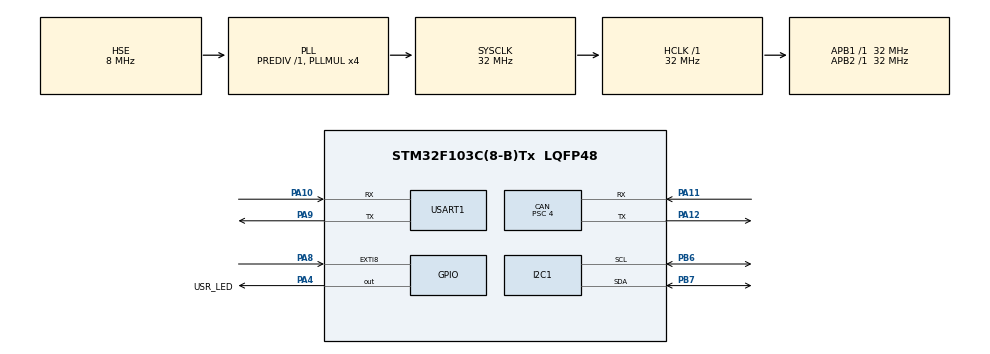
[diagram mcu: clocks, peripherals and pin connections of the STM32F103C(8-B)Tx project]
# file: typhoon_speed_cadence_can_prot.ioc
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CAN.BS1=CAN_BS1_13TQ
CAN.BS2=CAN_BS2_2TQ
CAN.CalculateBaudRate=500000
CAN.CalculateTimeBit=2000
CAN.CalculateTimeQuantum=125.0
CAN.Mode=CAN_MODE_NORMAL
CAN.Prescaler=4
Mcu.Family=STM32F1
Mcu.Name=STM32F103C(8-B)Tx
Mcu.Package=LQFP48
NVIC.EXTI9_5_IRQn=true\:0\:0\:false\:false\:true\:true\:true\:true
NVIC.PriorityGroup=NVIC_PRIORITYGROUP_4
NVIC.RCC_IRQn=true\:0\:0\:false\:false\:true\:true\:false\:true
PA10.Mode=Asynchronous
PA10.Signal=USART1_RX
PA11.Mode=CAN_Activate
PA11.Signal=CAN_RX
PA12.Mode=CAN_Activate
PA12.Signal=CAN_TX
PA13.Mode=Serial_Wire
PA13.Signal=SYS_JTMS-SWDIO
PA14.Mode=Serial_Wire
PA14.Signal=SYS_JTCK-SWCLK
PA4.GPIO_Label=USR_LED
PA4.Signal=GPIO_Output
PA8.GPIO_ModeDefaultEXTI=GPIO_MODE_IT_FALLING
PA8.Signal=GPXTI8
PA9.Mode=Asynchronous
PA9.Signal=USART1_TX
PB6.Mode=I2C
PB6.Signal=I2C1_SCL
PB7.Mode=I2C
PB7.Signal=I2C1_SDA
PD0-OSC_IN.Mode=HSE-External-Oscillator
PD0-OSC_IN.Signal=RCC_OSC_IN
PD1-OSC_OUT.Mode=HSE-External-Oscillator
PD1-OSC_OUT.Signal=RCC_OSC_OUT
ProjectManager.HeapSize=0x200
ProjectManager.StackSize=0x400
ProjectManager.TargetToolchain=STM32CubeIDE
RCC.AHBFreq_Value=32000000
RCC.APB1Freq_Value=32000000
RCC.APB1TimFreq_Value=32000000
RCC.APB2Freq_Value=32000000
RCC.APB2TimFreq_Value=32000000
RCC.EnbaleCSS=true
RCC.HCLKFreq_Value=32000000
RCC.PLLMUL=RCC_PLL_MUL4
RCC.PLLSourceVirtual=RCC_PLLSOURCE_HSE
RCC.SYSCLKFreq_VALUE=32000000
RCC.SYSCLKSource=RCC_SYSCLKSOURCE_PLLCLK
RCC.USBFreq_Value=32000000
USART1.VirtualMode=VM_ASYNC
board=custom

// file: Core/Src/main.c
/* USER CODE BEGIN Header */
/**
  ******************************************************************************
  * @file           : main.c
  * @brief          : Main program body
  ******************************************************************************
  * @attention
  *
  * Copyright (c) 2026 STMicroelectronics.
  * All rights reserved.
  *
  * This software is licensed under terms that can be found in the LICENSE file
  * in the root directory of this software component.
  * If no LICENSE file comes with this software, it is provided AS-IS.
  *
  ******************************************************************************
  */
/* USER CODE END Header */
#include "main.h"

/* USER CODE BEGIN Includes */
#include <stdio.h>
#include <string.h>
/* USER CODE END Includes */

/* USER CODE BEGIN PD */
// #define LOOPBACK
/* USER CODE END PD */

CAN_HandleTypeDef hcan;

I2C_HandleTypeDef hi2c1;

UART_HandleTypeDef huart1;

void SystemClock_Config(void);
static void MX_GPIO_Init(void);
static void MX_I2C1_Init(void);
static void MX_USART1_UART_Init(void);
static void MX_CAN_Init(void);

int main(void)
{

  /* MCU Configuration--------------------------------------------------------*/

  /* Reset of all peripherals, Initializes the Flash interface and the Systick. */
  HAL_Init();

  /* Configure the system clock */
  SystemClock_Config();

  /* Initialize all configured peripherals */
  MX_GPIO_Init();
  MX_I2C1_Init();
  MX_USART1_UART_Init();
  MX_CAN_Init();
  /* USER CODE BEGIN 2 */
  // Configure CAN filter to accept all messages
  CAN_FilterTypeDef canFilter;
  canFilter.FilterBank = 0;
  canFilter.FilterMode = CAN_FILTERMODE_IDMASK;
  canFilter.FilterScale = CAN_FILTERSCALE_32BIT;
  canFilter.FilterIdHigh = 0x0000;
  canFilter.FilterIdLow = 0x0000;
  canFilter.FilterMaskIdHigh = 0x0000;
  canFilter.FilterMaskIdLow = 0x0000;
  canFilter.FilterFIFOAssignment = CAN_RX_FIFO0;
  canFilter.FilterActivation = ENABLE;

  HAL_CAN_ConfigFilter(&hcan, &canFilter);

  // Start CAN
  HAL_CAN_Start(&hcan);

  // Activate CAN receive interrupt
  HAL_CAN_ActivateNotification(&hcan, CAN_IT_RX_FIFO0_MSG_PENDING);
  /* USER CODE END 2 */

  /* Infinite loop */
  /* USER CODE BEGIN WHILE */
  while (1)
  {
#ifdef LOOPBACK
	  CAN_TxHeaderTypeDef TxHeader;
	  uint8_t TxData[8] = {0x11, 0x22, 0x33, 0x44, 0x55, 0x66, 0x77, 0x88};
	  uint32_t TxMailbox;

	  TxHeader.DLC = 8;  // Data length: 8 bytes
	  TxHeader.IDE = CAN_ID_STD;  // Standard ID (11-bit)
	  TxHeader.RTR = CAN_RTR_DATA;  // Data frame
	  TxHeader.StdId = 0x123;  // CAN ID = 0x123

	  if (HAL_CAN_AddTxMessage(&hcan, &TxHeader, TxData, &TxMailbox) == HAL_OK) {
	      printf("TX - ID: 0x%03X Data: ", (unsigned int)TxHeader.StdId);
	      for(int i = 0; i < 8; i++) {
	          printf("%02X ", TxData[i]);
	      }
	      printf("\r\n");

	      HAL_GPIO_TogglePin(USR_LED_GPIO_Port, USR_LED_Pin);
	  }

	  HAL_Delay(100);

	  // Check if message received
	  if (HAL_CAN_GetRxFifoFillLevel(&hcan, CAN_RX_FIFO0) > 0)
	  {
		  CAN_RxHeaderTypeDef RxHeader;
		  uint8_t RxData[8];

		  if (HAL_CAN_GetRxMessage(&hcan, CAN_RX_FIFO0, &RxHeader, RxData) == HAL_OK)
		  {
			  printf("RX - ID: 0x%03lX Data: ", RxHeader.StdId);
			  for(int i = 0; i < RxHeader.DLC; i++) {
				  printf("%02X ", RxData[i]);
			  }
			  printf("\r\n");
		  }
	  }

	      HAL_Delay(900); // Rest of the 1 second delay
#else
	      // Real CAN code - Normal mode with ESP32

		  // Check if we received a CAN message
		  if (HAL_CAN_GetRxFifoFillLevel(&hcan, CAN_RX_FIFO0) > 0) {
			  CAN_RxHeaderTypeDef RxHeader;
			  uint8_t RxData[8];

			  if (HAL_CAN_GetRxMessage(&hcan, CAN_RX_FIFO0, &RxHeader, RxData) == HAL_OK) {
				  printf("RX - ID: 0x%03lX Data: ", RxHeader.StdId);
				  for(int i = 0; i < RxHeader.DLC; i++) {
					  printf("%02X ", RxData[i]);
				  }
				  printf("\r\n");

				  // Toggle LED when message received
				  HAL_GPIO_TogglePin(USR_LED_GPIO_Port, USR_LED_Pin);
			  }
		  }

		  // Send a test message every second
		  static uint32_t lastSendTime = 0;
		  if (HAL_GetTick() - lastSendTime >= 1000) {
			  CAN_TxHeaderTypeDef TxHeader;
			  uint8_t TxData[8] = {0xAA, 0xBB, 0xCC, 0xDD, 0xEE, 0xFF, 0x11, 0x22};
			  uint32_t TxMailbox;

			  TxHeader.DLC = 8;
			  TxHeader.IDE = CAN_ID_STD;
			  TxHeader.RTR = CAN_RTR_DATA;
			  TxHeader.StdId = 0x456;  // Different ID from loopback test

			  if (HAL_CAN_AddTxMessage(&hcan, &TxHeader, TxData, &TxMailbox) == HAL_OK) {
				  printf("TX - ID: 0x%03X Data: ", (unsigned int)TxHeader.StdId);
				  for(int i = 0; i < 8; i++) {
					  printf("%02X ", TxData[i]);
				  }
				  printf("\r\n");
			  }

			  lastSendTime = HAL_GetTick();
		  }

		  HAL_Delay(10);  // Small delay to prevent busy loop
#endif
    /* USER CODE END WHILE */

  }
}

void SystemClock_Config(void)
{
  RCC_OscInitTypeDef RCC_OscInitStruct = {0};
  RCC_ClkInitTypeDef RCC_ClkInitStruct = {0};

  /** Initializes the RCC Oscillators according to the specified parameters
  * in the RCC_OscInitTypeDef structure.
  */
  RCC_OscInitStruct.OscillatorType = RCC_OSCILLATORTYPE_HSE;
  RCC_OscInitStruct.HSEState = RCC_HSE_ON;
  RCC_OscInitStruct.HSEPredivValue = RCC_HSE_PREDIV_DIV1;
  RCC_OscInitStruct.HSIState = RCC_HSI_ON;
  RCC_OscInitStruct.PLL.PLLState = RCC_PLL_ON;
  RCC_OscInitStruct.PLL.PLLSource = RCC_PLLSOURCE_HSE;
  RCC_OscInitStruct.PLL.PLLMUL = RCC_PLL_MUL4;
  if (HAL_RCC_OscConfig(&RCC_OscInitStruct) != HAL_OK)
  {
    Error_Handler();
  }

  /** Initializes the CPU, AHB and APB buses clocks
  */
  RCC_ClkInitStruct.ClockType = RCC_CLOCKTYPE_HCLK|RCC_CLOCKTYPE_SYSCLK
                              |RCC_CLOCKTYPE_PCLK1|RCC_CLOCKTYPE_PCLK2;
  RCC_ClkInitStruct.SYSCLKSource = RCC_SYSCLKSOURCE_PLLCLK;
  RCC_ClkInitStruct.AHBCLKDivider = RCC_SYSCLK_DIV1;
  RCC_ClkInitStruct.APB1CLKDivider = RCC_HCLK_DIV1;
  RCC_ClkInitStruct.APB2CLKDivider = RCC_HCLK_DIV1;

  if (HAL_RCC_ClockConfig(&RCC_ClkInitStruct, FLASH_LATENCY_1) != HAL_OK)
  {
    Error_Handler();
  }

  /** Enables the Clock Security System
  */
  HAL_RCC_EnableCSS();
}

static void MX_CAN_Init(void)
{

  hcan.Instance = CAN1;
  hcan.Init.Prescaler = 4;
  hcan.Init.Mode = CAN_MODE_NORMAL;
  hcan.Init.SyncJumpWidth = CAN_SJW_1TQ;
  hcan.Init.TimeSeg1 = CAN_BS1_13TQ;
  hcan.Init.TimeSeg2 = CAN_BS2_2TQ;
  hcan.Init.TimeTriggeredMode = DISABLE;
  hcan.Init.AutoBusOff = DISABLE;
  hcan.Init.AutoWakeUp = DISABLE;
  hcan.Init.AutoRetransmission = DISABLE;
  hcan.Init.ReceiveFifoLocked = DISABLE;
  hcan.Init.TransmitFifoPriority = DISABLE;
  if (HAL_CAN_Init(&hcan) != HAL_OK)
  {
    Error_Handler();
  }

}

static void MX_I2C1_Init(void)
{

  hi2c1.Instance = I2C1;
  hi2c1.Init.ClockSpeed = 100000;
  hi2c1.Init.DutyCycle = I2C_DUTYCYCLE_2;
  hi2c1.Init.OwnAddress1 = 0;
  hi2c1.Init.AddressingMode = I2C_ADDRESSINGMODE_7BIT;
  hi2c1.Init.DualAddressMode = I2C_DUALADDRESS_DISABLE;
  hi2c1.Init.OwnAddress2 = 0;
  hi2c1.Init.GeneralCallMode = I2C_GENERALCALL_DISABLE;
  hi2c1.Init.NoStretchMode = I2C_NOSTRETCH_DISABLE;
  if (HAL_I2C_Init(&hi2c1) != HAL_OK)
  {
    Error_Handler();
  }

}

static void MX_USART1_UART_Init(void)
{

  huart1.Instance = USART1;
  huart1.Init.BaudRate = 115200;
  huart1.Init.WordLength = UART_WORDLENGTH_8B;
  huart1.Init.StopBits = UART_STOPBITS_1;
  huart1.Init.Parity = UART_PARITY_NONE;
  huart1.Init.Mode = UART_MODE_TX_RX;
  huart1.Init.HwFlowCtl = UART_HWCONTROL_NONE;
  huart1.Init.OverSampling = UART_OVERSAMPLING_16;
  if (HAL_UART_Init(&huart1) != HAL_OK)
  {
    Error_Handler();
  }

}

static void MX_GPIO_Init(void)
{
  GPIO_InitTypeDef GPIO_InitStruct = {0};

  /* GPIO Ports Clock Enable */
  __HAL_RCC_GPIOD_CLK_ENABLE();
  __HAL_RCC_GPIOA_CLK_ENABLE();
  __HAL_RCC_GPIOB_CLK_ENABLE();

  /*Configure GPIO pin Output Level */
  HAL_GPIO_WritePin(USR_LED_GPIO_Port, USR_LED_Pin, GPIO_PIN_RESET);

  /*Configure GPIO pin : USR_LED_Pin */
  GPIO_InitStruct.Pin = USR_LED_Pin;
  GPIO_InitStruct.Mode = GPIO_MODE_OUTPUT_PP;
  GPIO_InitStruct.Pull = GPIO_NOPULL;
  GPIO_InitStruct.Speed = GPIO_SPEED_FREQ_LOW;
  HAL_GPIO_Init(USR_LED_GPIO_Port, &GPIO_InitStruct);

  /*Configure GPIO pin : PA8 */
  GPIO_InitStruct.Pin = GPIO_PIN_8;
  GPIO_InitStruct.Mode = GPIO_MODE_IT_FALLING;
  GPIO_InitStruct.Pull = GPIO_NOPULL;
  HAL_GPIO_Init(GPIOA, &GPIO_InitStruct);

  /* EXTI interrupt init*/
  HAL_NVIC_SetPriority(EXTI9_5_IRQn, 0, 0);
  HAL_NVIC_EnableIRQ(EXTI9_5_IRQn);

}

/* USER CODE BEGIN 4 */
// Redirect printf to UART
int _write(int file, char *ptr, int len)
{
    HAL_UART_Transmit(&huart1, (uint8_t*)ptr, len, HAL_MAX_DELAY);
    return len;
}

// This function is called automatically when a CAN message is received
void HAL_CAN_RxFifo0MsgPendingCallback(CAN_HandleTypeDef *hcan)
{
    CAN_RxHeaderTypeDef RxHeader;
    uint8_t RxData[8];

    // Get the received message
    if (HAL_CAN_GetRxMessage(hcan, CAN_RX_FIFO0, &RxHeader, RxData) == HAL_OK)
    {
        // Print received message
        printf("RX - ID: 0x%03lX Data: ", RxHeader.StdId);
        for(int i = 0; i < RxHeader.DLC; i++) {
            printf("%02X ", RxData[i]);
        }
        printf("\r\n");

        HAL_GPIO_TogglePin(USR_LED_GPIO_Port, USR_LED_Pin);
    }
}

/* USER CODE END 4 */

void Error_Handler(void)
{
  __disable_irq();
  while (1)
  {
  }
}
